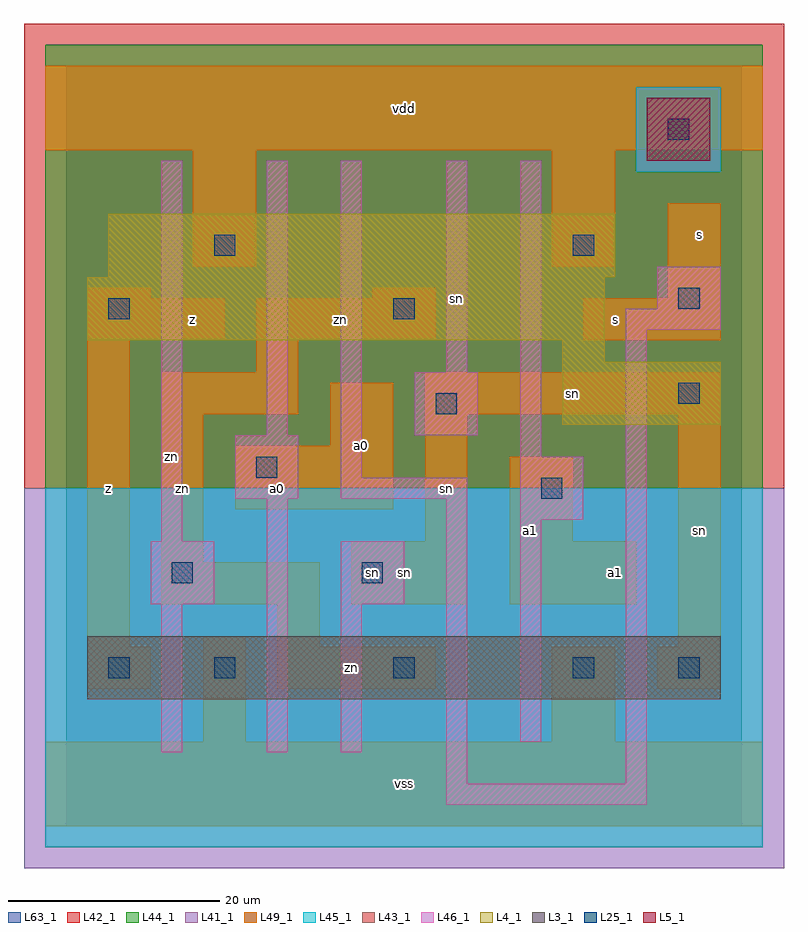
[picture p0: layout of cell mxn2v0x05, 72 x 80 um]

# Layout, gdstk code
import gdstk
lib = gdstk.Library(unit=1e-6, precision=1e-09)
def R(c, l, rs):  # rectangles x0, y0, x1, y1
    for r in rs: c.add(gdstk.rectangle(r[:2], r[2:], *l))
def A(c, l, x, y, w, h, nx, ny, dx, dy):  # array of equal rectangles
    R(c, l, [(x+i*dx, y+j*dy, x+i*dx+w, y+j*dy+h) for i in range(nx) for j in range(ny)])
L3_1 = (3, 1)
L4_1 = (4, 1)
L5_1 = (5, 1)
L25_1 = (25, 1)
L41_1 = (41, 1)
L42_1 = (42, 1)
L43_1 = (43, 1)
L44_1 = (44, 1)
L45_1 = (45, 1)
L46_1 = (46, 1)
L49_1 = (49, 1)
L63_1 = (63, 1)

mxn2v0x05 = lib.new_cell('mxn2v0x05')
R(mxn2v0x05, L3_1, [(2,12,62,18)])
R(mxn2v0x05, L4_1, [(47,38,62,44), (47,44,51,46), (2,46,51,52), (4,52,52,58)])
R(mxn2v0x05, L5_1, [(55,63,61,69)])
A(mxn2v0x05, L25_1, 14, 14, 2, 2, 3, 1, 17, 0)
R(mxn2v0x05, L25_1, [(4,14,6,16), (58,14,60,16), (10,23,12,25), (28,23,30,25), (45,31,47,33), (18,33,20,35), (35,39,37,41), (58,40,60,42), (4,48,6,50), (31,48,33,50), (58,49,60,51), (14,54,16,56), (48,54,50,56), (57,65,59,67)])
R(mxn2v0x05, L41_1, [(-4,-4,68,32)])
R(mxn2v0x05, L42_1, [(-4,32,68,76)])
R(mxn2v0x05, L43_1, [(2,12,62,18), (47,38,62,44), (47,44,51,46), (2,46,51,52), (4,52,52,58), (55,63,61,69)])
R(mxn2v0x05, L44_1, [(-2,32,66,62), (-2,62,54,70), (62,62,66,70), (-2,70,66,74)])
R(mxn2v0x05, L45_1, [(-2,-2,66,32), (54,62,62,70)])
R(mxn2v0x05, L46_1, [(36,2,55,4), (36,4,38,31), (53,4,55,47), (9,7,11,21), (19,7,21,31), (26,7,28,21), (43,8,45,29), (8,21,14,27), (26,21,32,27), (9,27,11,63), (43,29,49,35), (16,31,22,37), (26,31,38,33), (26,33,28,63), (43,35,45,63), (19,37,21,63), (33,37,39,43), (36,43,38,63), (53,47,62,49), (56,49,62,53)])
R(mxn2v0x05, L49_1, [(-2,0,66,8), (13,8,17,18), (46,8,52,17), (2,13,8,17), (20,13,35,17), (56,13,62,17), (2,17,6,46), (20,17,24,21), (58,17,62,39), (9,21,24,25), (27,21,38,27), (42,21,54,27), (9,25,13,39), (34,27,38,39), (42,27,48,35), (16,30,31,36), (25,36,31,42), (9,39,22,43), (34,39,62,43), (18,43,22,46), (2,46,15,50), (18,46,35,50), (49,46,62,50), (2,50,8,51), (29,50,35,51), (57,50,62,59), (12,53,18,64), (46,53,52,64), (-2,64,66,72)])
R(mxn2v0x05, L63_1, [(0,0,64,72)])
mxn2v0x05.add(gdstk.Label('zn', (10,35), layer=46, texttype=1))
mxn2v0x05.add(gdstk.Label('sn', (29,24), layer=49, texttype=1))
mxn2v0x05.add(gdstk.Label('sn', (37,50), layer=46, texttype=1))
mxn2v0x05.add(gdstk.Label('z', (4,32), layer=49, texttype=1))
mxn2v0x05.add(gdstk.Label('zn', (11,32), layer=49, texttype=1))
mxn2v0x05.add(gdstk.Label('z', (12,48), layer=49, texttype=1))
mxn2v0x05.add(gdstk.Label('a0', (20,32), layer=49, texttype=1))
mxn2v0x05.add(gdstk.Label('a0', (28,36), layer=49, texttype=1))
mxn2v0x05.add(gdstk.Label('vss', (32,4), layer=49, texttype=1))
mxn2v0x05.add(gdstk.Label('zn', (27,15), layer=49, texttype=1))
mxn2v0x05.add(gdstk.Label('sn', (32,24), layer=49, texttype=1))
mxn2v0x05.add(gdstk.Label('a1', (44,28), layer=49, texttype=1))
mxn2v0x05.add(gdstk.Label('sn', (36,32), layer=49, texttype=1))
mxn2v0x05.add(gdstk.Label('zn', (26,48), layer=49, texttype=1))
mxn2v0x05.add(gdstk.Label('vdd', (32,68), layer=49, texttype=1))
mxn2v0x05.add(gdstk.Label('a1', (52,24), layer=49, texttype=1))
mxn2v0x05.add(gdstk.Label('sn', (60,28), layer=49, texttype=1))
mxn2v0x05.add(gdstk.Label('s', (52,48), layer=49, texttype=1))
mxn2v0x05.add(gdstk.Label('sn', (48,41), layer=49, texttype=1))
mxn2v0x05.add(gdstk.Label('s', (60,56), layer=49, texttype=1))

lib.write_gds('mxn2v0x05.gds')
